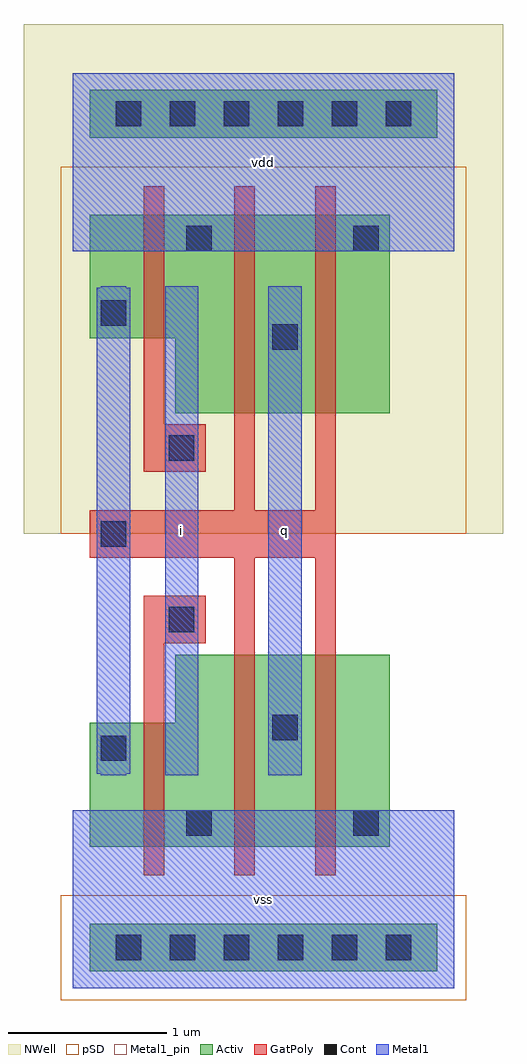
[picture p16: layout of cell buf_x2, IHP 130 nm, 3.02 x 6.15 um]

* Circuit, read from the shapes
.subckt buf_x2 i q vdd vss
XM1 vss i n1 vss sg13_lv_nmos w=0.78u l=0.13u
XM2 q n1 vss vss sg13_lv_nmos w=1.21u l=0.13u m=2
XM3 vdd i n1 vdd sg13_lv_pmos w=0.78u l=0.13u
XM4 q n1 vdd vdd sg13_lv_pmos w=1.25u l=0.13u m=2
.ends

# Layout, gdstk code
import gdstk
lib = gdstk.Library(unit=1e-6, precision=1e-09)
def R(c, l, rs):  # rectangles x0, y0, x1, y1
    for r in rs: c.add(gdstk.rectangle(r[:2], r[2:], *l))
def A(c, l, x, y, w, h, nx, ny, dx, dy):  # array of equal rectangles
    R(c, l, [(x+i*dx, y+j*dy, x+i*dx+w, y+j*dy+h) for i in range(nx) for j in range(ny)])
def P(c, l, *ps):  # polygons
    for p in ps: c.add(gdstk.Polygon(p, *l))
Activ = (1, 0)
GatPoly = (5, 0)
Cont = (6, 0)
Metal1 = (8, 0)
Metal1_pin = (8, 2)
pSD = (14, 0)
NWell = (31, 0)

buf_x2 = lib.new_cell('buf_x2')
R(buf_x2, Activ, [(0.105,0.105,2.295,0.405), (0.105,5.355,2.295,5.655)])
P(buf_x2, Activ, [(0.105,0.89),(0.105,1.67),(0.645,1.67),(0.645,2.1),(1.995,2.1),(1.995,0.89)],
  [(0.645,3.62),(0.645,4.09),(0.105,4.09),(0.105,4.87),(1.995,4.87),(1.995,3.62)])
P(buf_x2, GatPoly, [(1.015,0.71),(1.015,2.71),(0.105,2.71),(0.105,3.01),(1.015,3.01),(1.015,5.05),(1.145,5.05),(1.145,3.01),(1.525,3.01),(1.525,5.05),(1.655,5.05),(1.655,0.71),(1.525,0.71),(1.525,2.71),(1.145,2.71),(1.145,0.71)],
  [(0.445,3.25),(0.445,5.05),(0.575,5.05),(0.575,3.55),(0.835,3.55),(0.835,3.25)],
  [(0.445,0.71),(0.445,2.47),(0.835,2.47),(0.835,2.17),(0.575,2.17),(0.575,0.71)])
A(buf_x2, Cont, 0.27, 0.175, 0.16, 0.16, 6, 2, 0.34, 5.25)
R(buf_x2, Cont, [(0.715,0.96,0.875,1.12), (1.765,0.96,1.925,1.12), (0.175,1.43,0.335,1.59), (1.255,1.56,1.415,1.72), (0.605,2.24,0.765,2.4), (0.175,2.78,0.335,2.94), (0.605,3.32,0.765,3.48), (1.255,4.02,1.415,4.18), (0.175,4.17,0.335,4.33), (0.715,4.64,0.875,4.8), (1.765,4.64,1.925,4.8)])
R(buf_x2, Metal1, [(0,0,2.4,1.12), (0.58,1.34,0.79,4.42), (1.23,1.34,1.44,4.42), (0,4.64,2.4,5.76)])
P(buf_x2, Metal1, [(0.175,1.34),(0.175,1.35),(0.15,1.35),(0.15,4.41),(0.175,4.41),(0.175,4.42),(0.335,4.42),(0.335,4.41),(0.36,4.41),(0.36,1.35),(0.335,1.35),(0.335,1.34)])
R(buf_x2, Metal1_pin, [(0,0,2.4,1.12), (0.58,1.34,0.79,4.42), (1.23,1.34,1.44,4.42), (0,4.64,2.4,5.76)])
R(buf_x2, pSD, [(-0.075,-0.075,2.475,0.585), (-0.075,2.86,2.475,5.17)])
R(buf_x2, NWell, [(-0.31,2.86,2.71,6.07)])
buf_x2.add(gdstk.Label('vdd', (1.2,5.2), layer=8, texttype=2))
buf_x2.add(gdstk.Label('vss', (1.2,0.56), layer=8, texttype=2))
buf_x2.add(gdstk.Label('i', (0.685,2.88), layer=8, texttype=2))
buf_x2.add(gdstk.Label('q', (1.335,2.88), layer=8, texttype=2))

lib.write_gds('buf_x2.gds')
